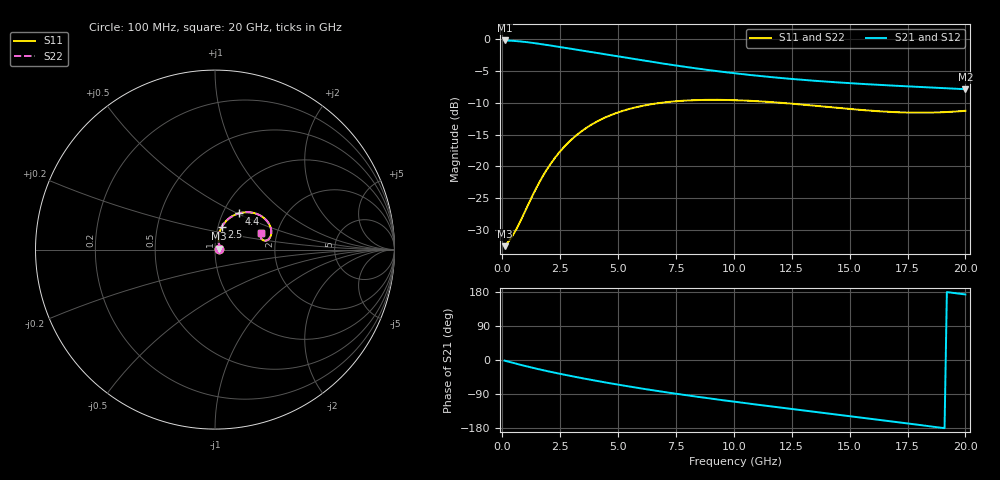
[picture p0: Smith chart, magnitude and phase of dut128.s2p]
! Created with skrf 1.9.0 (http://scikit-rf.org).
# GHz S RI R 50.0
!freq ReS11 ImS11 ReS21 ImS21 ReS12 ImS12 ReS22 ImS22
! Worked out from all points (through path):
!   200 points, 100 MHz to 20 GHz, reference 50 ohm
!   highest |S21| = -0.21 dB at 100 MHz (marker M1); lowest = -7.9 dB at 20 GHz (marker M2)
!   group delay of S21, straight-line fit = 24.4 ps
!   lowest |S11| = -32.5 dB at 100 MHz (marker M3), VSWR 1.05, Z = 52.4 + j0.467 ohm
!   |S11| at or under -10 dB: start of sweep to 6.858 GHz; 12.04 GHz to end of sweep
!   |S22| runs from -32.5 to -9.5 dB; largest |S21 - S12| = 2.3e-15
!   S11 on the Smith chart (normalised r, x): 100 MHz: 1.05, +0.01; 2.5 GHz: 1.04, +0.27; 4.4 GHz: 1.18, +0.51; 20 GHz: 1.65, +0.33
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0.1  0.0232 0.00446  0.976 -0.0288  0.976 -0.0288  0.0232 0.00446
0.4  0.0233 0.0151  0.965 -0.1109  0.965 -0.1109  0.0233 0.0151
0.6  0.0225 0.0227  0.9518 -0.1636  0.9518 -0.1636  0.0225 0.0227
1.3  0.0197 0.0554  0.8765 -0.3258  0.8765 -0.3258  0.0197 0.0554
1.6  0.0205 0.0722  0.835 -0.3834  0.835 -0.3834  0.0205 0.0722
1.9  0.0235 0.0901  0.7904 -0.434  0.7904 -0.434  0.0235 0.0901
2.2  0.0292 0.1083  0.7439 -0.4781  0.7439 -0.4781  0.0292 0.1083
2.5  0.0374 0.1261  0.6963 -0.5164  0.6963 -0.5164  0.0374 0.1261
3  0.0565 0.1534  0.6159 -0.5685  0.6159 -0.5685  0.0565 0.1534
3.5  0.0806 0.1758  0.5359 -0.6077  0.5359 -0.6077  0.0806 0.1758
4.4  0.1311 0.2014  0.3963 -0.6508  0.3963 -0.6508  0.1311 0.2014
5.5  0.1925 0.2079  0.2402 -0.6649  0.2402 -0.6649  0.1925 0.2079
6.8  0.2513 0.1903  0.0829 -0.6433  0.0829 -0.6433  0.2513 0.1903
7.6  0.2773 0.172  0.00131 -0.6168  0.00131 -0.6168  0.2773 0.172
8.4  0.2956 0.1513  -0.0696 -0.5841  -0.0696 -0.5841  0.2956 0.1513
10.1  0.3131 0.1082  -0.19 -0.5031  -0.19 -0.5031  0.3131 0.1082
11.7  0.3104 0.0761  -0.2742 -0.4199  -0.2742 -0.4199  0.3104 0.0761
13.4  0.2959 0.0554  -0.3401 -0.3276  -0.3401 -0.3276  0.2959 0.0554
15.1  0.2775 0.0494  -0.3855 -0.2319  -0.3855 -0.2319  0.2775 0.0494
16.7  0.2626 0.0559  -0.4101 -0.1395  -0.4101 -0.1395  0.2626 0.0559
18.4  0.2545 0.0724  -0.4158 -0.0406  -0.4158 -0.0406  0.2545 0.0724
20  0.2576 0.0921  -0.4014 0.0493  -0.4014 0.0493  0.2576 0.0921
